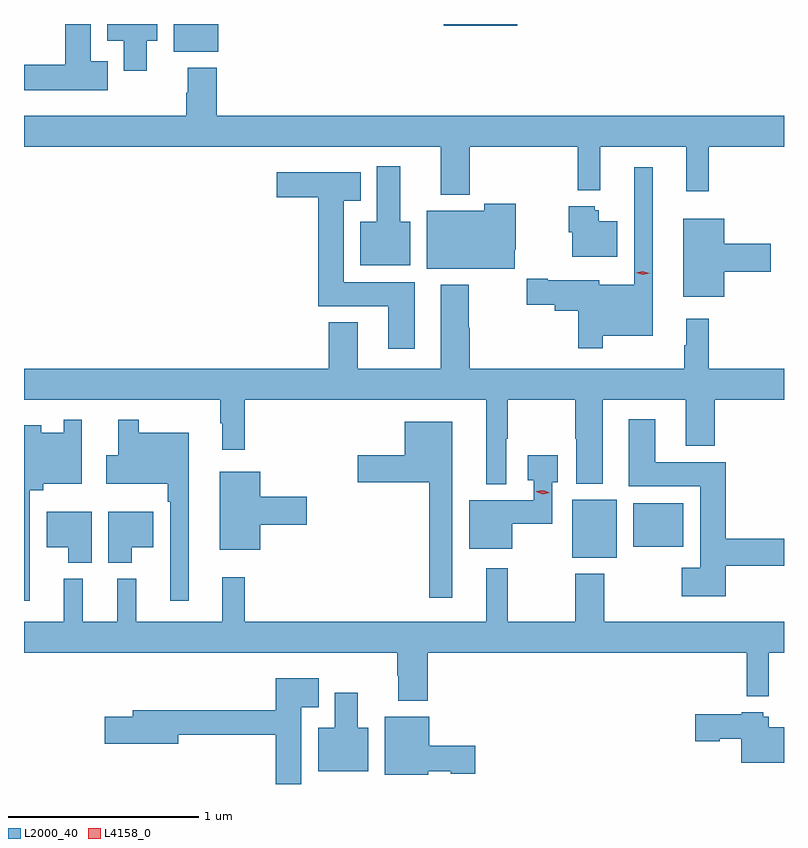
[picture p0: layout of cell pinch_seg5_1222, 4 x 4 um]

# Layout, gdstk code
import gdstk
lib = gdstk.Library(unit=1e-6, precision=1e-09)
def R(c, l, rs):  # rectangles x0, y0, x1, y1
    for r in rs: c.add(gdstk.rectangle(r[:2], r[2:], *l))
def P(c, l, *ps):  # polygons
    for p in ps: c.add(gdstk.Polygon(p, *l))
L2000_40 = (2000, 40)
L4158_0 = (4158, 0)

pinch_seg5_1222 = lib.new_cell('pinch_seg5_1222')
R(pinch_seg5_1222, L2000_40, [(411.332,902.549,411.565,902.854), (411.653,902.606,411.916,902.836), (409.235,905.213,409.468,905.358), (410.654,905.35,411.043,905.358)])
P(pinch_seg5_1222, L2000_40, [(408.886,905.161),(408.796,905.161),(408.796,905.358),(408.662,905.358),(408.662,905.144),(408.446,905.144),(408.446,905.009),(408.886,905.009)],
  [(409.093,905.27),(409.147,905.27),(409.147,905.358),(408.884,905.358),(408.884,905.27),(408.971,905.27),(408.971,905.112),(409.093,905.112)],
  [(410.792,904.712),(411.361,904.712),(411.361,904.484),(411.479,904.484),(411.479,904.712),(411.932,904.712),(411.932,904.479),(412.049,904.479),(412.049,904.712),(412.446,904.712),(412.446,904.876),(409.46,904.876),(409.46,905.128),(409.307,905.128),(409.307,904.997),(409.3,904.997),(409.3,904.876),(408.446,904.876),(408.446,904.712),(410.639,904.712),(410.639,904.46),(410.792,904.46)],
  [(410.479,904.318),(410.425,904.318),(410.425,904.609),(410.303,904.609),(410.303,904.318),(410.216,904.318),(410.216,904.088),(410.479,904.088)],
  [(411.493,903.716),(411.754,903.716),(411.754,904.603),(411.657,904.603),(411.657,903.985),(411.474,903.985),(411.474,904.009),(411.202,904.009),(411.202,904.016),(411.091,904.016),(411.091,903.88),(411.239,903.88),(411.239,903.85),(411.364,903.85),(411.364,903.651),(411.493,903.651)],
  [(410.503,904),(410.128,904),(410.128,904.427),(410.218,904.427),(410.218,904.579),(409.776,904.579),(409.776,904.445),(409.994,904.445),(409.994,903.872),(410.363,903.872),(410.363,903.648),(410.503,903.648)],
  [(411.03,904.171),(411.034,904.171),(411.034,904.411),(410.869,904.411),(410.869,904.375),(410.567,904.375),(410.567,904.07),(411.03,904.07)],
  [(411.568,904.321),(411.472,904.321),(411.472,904.377),(411.45,904.377),(411.45,904.399),(411.314,904.399),(411.314,904.263),(411.332,904.263),(411.332,904.133),(411.568,904.133)],
  [(412.132,904.055),(412.375,904.055),(412.375,904.202),(412.132,904.202),(412.132,904.333),(411.917,904.333),(411.917,903.923),(412.132,903.923)],
  [(410.983,903.175),(410.993,903.175),(410.993,903.38),(411.346,903.38),(411.346,903.175),(411.353,903.175),(411.353,902.939),(411.493,902.939),(411.493,903.38),(411.929,903.38),(411.929,903.137),(412.082,903.137),(412.082,903.38),(412.446,903.38),(412.446,903.544),(412.049,903.544),(412.049,903.808),(411.932,903.808),(411.932,903.668),(411.921,903.668),(411.921,903.544),(410.792,903.544),(410.792,903.759),(410.787,903.759),(410.787,903.985),(410.639,903.985),(410.639,903.544),(410.203,903.544),(410.203,903.787),(410.051,903.787),(410.051,903.544),(408.446,903.544),(408.446,903.38),(409.479,903.38),(409.479,903.257),(409.49,903.257),(409.49,903.117),(409.607,903.117),(409.607,903.38),(410.879,903.38),(410.879,902.936),(410.983,902.936)],
  [(412.139,902.506),(412.446,902.506),(412.446,902.648),(412.139,902.648),(412.139,903.052),(411.769,903.052),(411.769,903.277),(411.629,903.277),(411.629,902.924),(412.004,902.924),(412.004,902.497),(411.909,902.497),(411.909,902.345),(412.139,902.345)],
  [(408.477,902.903),(408.546,902.903),(408.546,902.939),(408.75,902.939),(408.75,903.274),(408.654,903.274),(408.654,903.208),(408.538,903.208),(408.538,903.247),(408.446,903.247),(408.446,902.322),(408.477,902.322)],
  [(409.312,903.208),(409.051,903.208),(409.051,903.274),(408.941,903.274),(408.941,903.087),(408.878,903.087),(408.878,902.939),(409.203,902.939),(409.203,902.843),(409.215,902.843),(409.215,902.322),(409.312,902.322)],
  [(410.701,903.265),(410.45,903.265),(410.45,903.087),(410.202,903.087),(410.202,902.945),(410.58,902.945),(410.58,902.337),(410.701,902.337)],
  [(411.016,902.728),(411.225,902.728),(411.225,902.945),(411.256,902.945),(411.256,903.087),(411.098,903.087),(411.098,902.957),(411.129,902.957),(411.129,902.851),(410.789,902.851),(410.789,902.597),(411.016,902.597)],
  [(409.69,902.723),(409.933,902.723),(409.933,902.87),(409.69,902.87),(409.69,903.001),(409.475,903.001),(409.475,902.591),(409.69,902.591)],
  [(408.802,902.791),(408.566,902.791),(408.566,902.603),(408.68,902.603),(408.68,902.522),(408.802,902.522)],
  [(409.012,902.603),(409.126,902.603),(409.126,902.791),(408.89,902.791),(408.89,902.522),(409.012,902.522)],
  [(410.57,902.048),(412.249,902.048),(412.249,901.82),(412.367,901.82),(412.367,902.048),(412.446,902.048),(412.446,902.212),(411.501,902.212),(411.501,902.464),(411.346,902.464),(411.346,902.212),(410.993,902.212),(410.993,902.494),(410.879,902.494),(410.879,902.212),(409.607,902.212),(409.607,902.446),(409.49,902.446),(409.49,902.212),(409.037,902.212),(409.037,902.437),(408.938,902.437),(408.938,902.212),(408.755,902.212),(408.755,902.437),(408.656,902.437),(408.656,902.212),(408.446,902.212),(408.446,902.048),(410.41,902.048),(410.41,901.928),(410.417,901.928),(410.417,901.796),(410.57,901.796)],
  [(409.906,901.763),(409.996,901.763),(409.996,901.915),(409.772,901.915),(409.772,901.747),(409.019,901.747),(409.019,901.713),(408.87,901.713),(408.87,901.571),(409.258,901.571),(409.258,901.618),(409.772,901.618),(409.772,901.358),(409.906,901.358)],
  [(410.257,901.654),(410.203,901.654),(410.203,901.837),(410.081,901.837),(410.081,901.654),(409.994,901.654),(409.994,901.424),(410.257,901.424)],
  [(412.446,901.657),(412.366,901.657),(412.366,901.713),(412.338,901.713),(412.338,901.735),(412.224,901.735),(412.224,901.725),(411.978,901.725),(411.978,901.583),(412.107,901.583),(412.107,901.595),(412.22,901.595),(412.22,901.469),(412.446,901.469)],
  [(410.574,901.424),(410.691,901.424),(410.691,901.412),(410.821,901.412),(410.821,901.559),(410.578,901.559),(410.578,901.711),(410.345,901.711),(410.345,901.406),(410.574,901.406)])
P(pinch_seg5_1222, L4158_0, [(411.703,904.038),(411.668,904.049),(411.667,904.049),(411.668,904.049),(411.703,904.058),(411.738,904.047),(411.739,904.046),(411.738,904.046)],
  [(411.176,902.884),(411.142,902.897),(411.142,902.897),(411.142,902.898),(411.178,902.904),(411.213,902.89),(411.213,902.89),(411.213,902.89)])

lib.write_gds('pinch_seg5_1222.gds')
